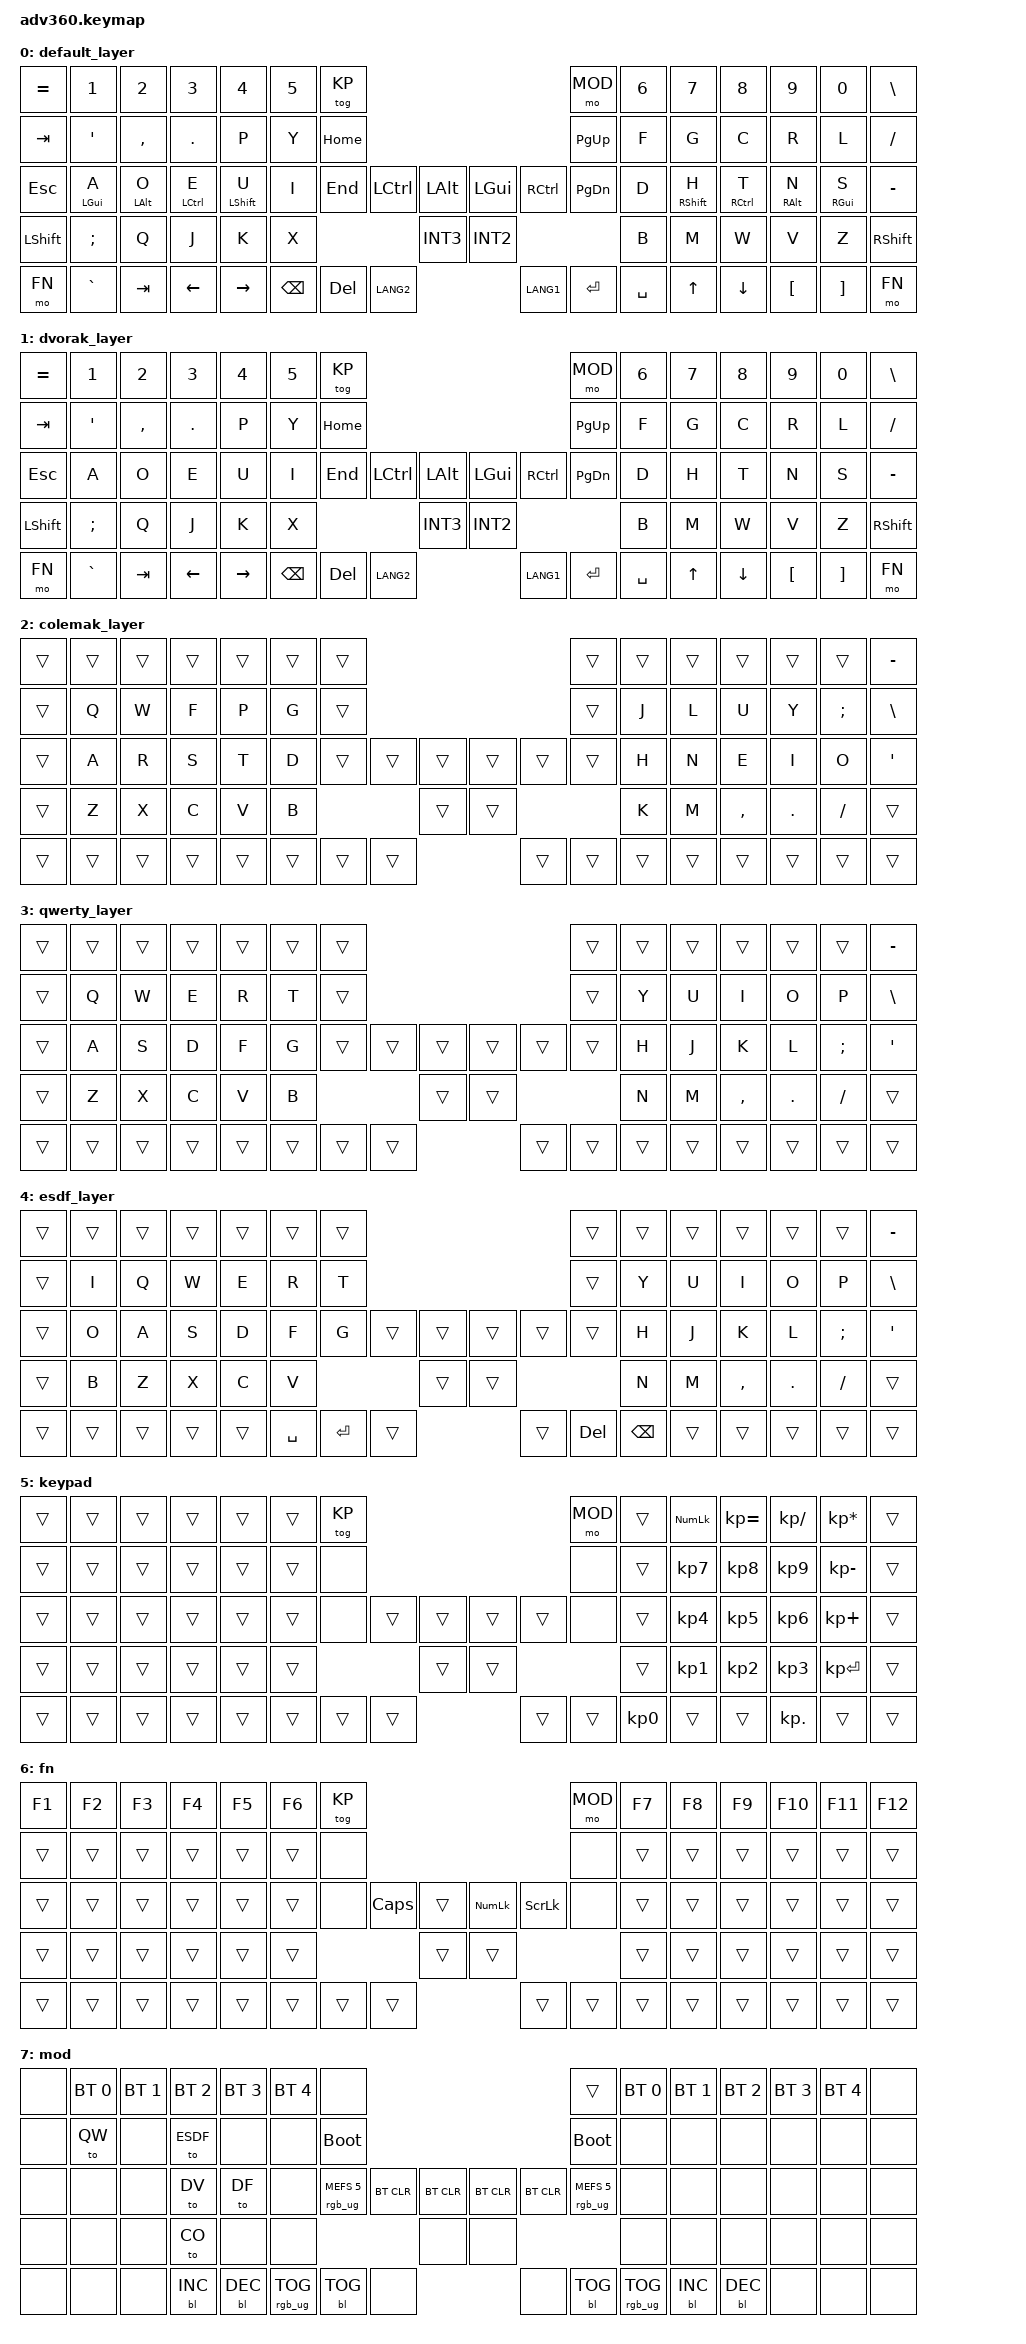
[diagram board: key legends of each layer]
#include <behaviors.dtsi>
#include <dt-bindings/zmk/keys.h>
#include <dt-bindings/zmk/bt.h>
#include <dt-bindings/zmk/rgb.h>
#include <dt-bindings/zmk/backlight.h>

#define DF 0
#define DV 1
#define CO 2
#define QW 3
#define ESDF 4
#define KP 5
#define FN 6
#define MOD 7

      //  ╭──────────────────────────────┬──────────────────────────────╮
      //  │  0  1  2  3  4  5  6         |          7  8  9 10 11 12 13 │
      //  │ 14 15 16 17 18 19 20 ╭───────┼───────╮ 21 22 23 24 25 26 27 │
      //  │ 28 29 30 31 32 33 34 │ 35 36 | 37 38 | 39 40 41 42 43 44 45 │
      //  │ 46 47 48 49 50 51 ╭──╯    52 | 53    ╰──╮ 54 55 56 57 58 59 │
      //  │ 60 61 62 63 64    | 65 66 67 | 68 69 70 |    71 72 73 74 75 │
      //  ╰───────────────────┴──────────┴──────────┴───────────────────╯
#define KEYS_LEFT 0 1 2 3 4 5 6 14 15 16 17 18 19 20 28 29 30 31 32 33 34 46 47 48 49 50 51 60 61 62 63 64

#define KEYS_RIGHT 7 8 9 10 11 12 13 21 22 23 24 25 26 27 39 40 41 42 43 44 45 54 55 56 57 58 59 71 72 73 74 75

#define THUMBS_LEFT 35 36 52 65 66 67

#define THUMBS_RIGHT  37 38 53 68 69 70

#define THUMBS THUMBS_LEFT THUMBS_RIGHT

/ {
    behaviors {
      #include "macros.dtsi"
      #include "version.dtsi"
      #ifndef VERSION_MACRO
      macro_ver: macro_ver {
        compatible = "zmk,behavior-macro";
        label = "macro_version";
        #binding-cells = <0>;
        bindings = <&kp RET>;
      };
      #endif

      hm: homerow_mods {
          compatible = "zmk,behavior-hold-tap";
          label = "HOMEROW_MODS";
          #binding-cells = <2>;
          tapping-term-ms = <500>;
          quick_tap_ms = <175>;
          flavor = "balanced";
          bindings = <&kp>, <&kp>;
      };

       hm_l: homerow_mods_left {
        compatible = "zmk,behavior-hold-tap";
        label = "HOMEROW_MODS_LEFT";
        #binding-cells = <2>;
        tapping-term-ms = <5000>;
        require-prior-idle-ms = <200>;
        hold-trigger-on-release;
        retro-tap;
        flavor = "balanced";
        bindings = <&kp>, <&kp>;
        hold-trigger-key-positions = <KEYS_RIGHT THUMBS>;
      };
      
    hm_r: homerow_mods_right {
        compatible = "zmk,behavior-hold-tap";
        label = "HOMEROW_MODS_RIGHT";
        #binding-cells = <2>;
        tapping-term-ms = <5000>;
        require-prior-idle-ms = <200>;
        hold-trigger-on-release;
        retro-tap;
        flavor = "balanced";
        bindings = <&kp>, <&kp>;
        hold-trigger-key-positions = <KEYS_LEFT THUMBS>;
      };

      bspdl: bspc_del {
        compatible = "zmk,behavior-mod-morph";
        label = "BSPC_DEL";
        #binding-cells = <0>;
        bindings = <&kp BACKSPACE>, <&kp DELETE>;
        mods = <(MOD_LSFT|MOD_RSFT)>;
      };
      sptab: space_tab {
        compatible = "zmk,behavior-mod-morph";
        label = "SPACE_TAB";
        #binding-cells = <0>;
        bindings = <&kp SPACE>, <&kp TAB>;
        mods = <(MOD_LSFT|MOD_RSFT)>;
      };
    };

    // Home-row mods
    #define U_SFT &hm_l LSHIFT U
    #define H_SFT &hm_r RSHIFT H
    #define E_CTL &hm_l LCTRL E
    #define T_CTL &hm_r RCTRL T
    #define O_ALT &hm_l LALT O
    #define N_ALT &hm_r RALT N
    #define A_GUI &hm_l LGUI A
    #define S_GUI &hm_r RGUI S

    // Keypad
    #define KP_DIV KP_DIVIDE
    #define KP_EQ KP_EQUAL
    #define KP_MUL KP_MULTIPLY
    #define KP_ENT KP_ENTER
    #define KP_MIN KP_MINUS

    // Bluetooth select
    #define BTS &bt BT_SEL
    //#define BT_SEL_0 &bt BT_SEL 0    
    //#define BT_SEL_1 &bt BT_SEL 1    
    //#define BT_SEL_2 &bt BT_SEL 2    
    //#define BT_SEL_3 &bt BT_SEL 3    
    //#define BT_SEL_4 &bt BT_SEL 4

    // Other
    #define BOOT &bootloader
    #define RGBC &rgb_ug RGB_MEFS_CMD
    #define RGBT &rgb_ug RGB_TOG
    //#define RGB_5 &rgb_ug RGB_MEFS_CMD 5
    //#define RGB_TGL &rgb_ug RGB_TOG



      // not my dvorak layout, just a placeholder
      //   ,--------------------------------------------------.                                           ,---------------------------------------------------.                      
      //   |    =   |   1  |   2  |   3  |  4   |   5  |tog KP |                                          | Mod   |   6  |   7  |   8  |   9  |   0  |   \|   |
      //   |--------+------+------+------+------+------+------|                                           |-------+------+------+------+------+------+--------|
      //   |   Tab  |   "  |   ,  |   .  |   P  |   Y  | Home |                                           | Pg Up |   F  |   G  |   C  |   R  |   L  |    /   |
      //   |--------+------+------+------+------+------+------|       ,-----+-----.  ,-----+-----.        |-------+------+------+------+------+------+--------|
      //   |   Esc  |   A  |   O  |   E  |   U  |   I  | End  |       |L Ctl|L Alt|  |L Gui|R ctl|        | Pg Dn |   D  |   H  |   T  |   N  |   S  |   -    |
      //   |--------+------+------+------+------+------+------' .-----+-----+-----|  |-----+-----+-----.  '-------+------+------+------+------+------+--------|
      //   | L Shift|   ;  |   Q  |   J  |   K  |   X  |        |Back |     | Int3|  | Int2|     |     |          |   B  |   M  |   W  |   V  |   Z  | R Shift|
      //   |--------+------+------+------+------+------'        |Space| Esc |-----|  |-----|Enter|Space|          '------+------+------+------+------+--------|
      //   |  Mod 4 |   `  | CAPS | Left | Right|               | /Del|     |Lang2|  |Lang1|     |     |                 |  Up  | Down |   [  |  ]   |        |
      //   `--------+------+------+------+------'               `-----+-----+-----'  `-----+-----+-----'                 '------+------+------+------+--------'
      //  ╭─────────────────────────────┬─────────────────────────────╮
      //  │  0  1  2  3  4  5  6        |         7  8  9 10 11 12 13 │
      //  │ 14 15 16 17 18 19 20 ╭──────┴──────╮ 21 22 23 24 25 26 27 │
      //  │ 28 29 30 31 32 33 34 │ 35 36 37 38 | 39 40 41 42 43 44 45 │
      //  │ 46 47 48 49 50 51 ╭──╯    52 53    ╰──╮ 54 55 56 57 58 59 │
      //  │ 60 61 62 63 64 ╭──╯ 65 66 67 68 69 70 ╰──╮ 71 72 73 74 75 │
      //  ╰────────────────┴─────────────────────────┴────────────────╯

  keymap {
    compatible = "zmk,keymap";

    default_layer {
      bindings = <
      //▄           ▄           ▄           ▄           ▄           ▄           ▄           ▄           ▄           ▄           ▄           ▄           ▄           ▄           ▄           ▄           ▄           ▄
        &kp EQUAL   &kp N1      &kp N2      &kp N3      &kp N4      &kp N5      &tog KP                                                     &mo MOD     &kp N6      &kp N7      &kp N8      &kp N9      &kp N0      &kp BSLH
        &kp TAB     &kp SQT     &kp COMMA   &kp DOT     &kp P       &kp Y       &kp HOME                                                    &kp PG_UP   &kp F       &kp G       &kp C       &kp R       &kp L       &kp FSLH
        &kp ESC     A_GUI       O_ALT       E_CTL       U_SFT       &kp I       &kp END     &kp LCTRL   &kp LALT    &kp LGUI   &kp RCTRL    &kp PG_DN   &kp D       H_SFT       T_CTL       N_ALT       S_GUI       &kp MINUS
        &kp LSHFT   &kp SEMI    &kp Q       &kp J       &kp K       &kp X                               &kp INT3    &kp INT2                            &kp B       &kp M       &kp W       &kp V       &kp Z       &kp RSHFT
        &mo FN      &kp GRAVE   &kp TAB     &kp LEFT    &kp RIGHT               &kp BSPC    &kp DELETE  &kp LANG2   &kp LANG1   &kp ENTER   &kp SPACE               &kp UP      &kp DOWN    &kp LBKT    &kp RBKT    &mo FN
      //▀           ▀           ▀           ▀           ▀           ▀           ▀           ▀           ▀           ▀           ▀           ▀           ▀           ▀           ▀           ▀           ▀           ▀ 
      >;
    };
    dvorak_layer {
      bindings = <
      //▄           ▄           ▄           ▄           ▄           ▄           ▄           ▄           ▄           ▄           ▄           ▄           ▄           ▄           ▄           ▄           ▄           ▄
        &kp EQUAL   &kp N1      &kp N2      &kp N3      &kp N4      &kp N5      &tog KP                                                     &mo MOD     &kp N6      &kp N7      &kp N8      &kp N9      &kp N0      &kp BSLH
        &kp TAB     &kp SQT     &kp COMMA   &kp DOT     &kp P       &kp Y       &kp HOME                                                    &kp PG_UP   &kp F       &kp G       &kp C       &kp R       &kp L       &kp FSLH
        &kp ESC     &kp A       &kp O       &kp E       &kp U       &kp I       &kp END     &kp LCTRL   &kp LALT    &kp LGUI    &kp RCTRL   &kp PG_DN   &kp D       &kp H       &kp T       &kp N       &kp S       &kp MINUS
        &kp LSHFT   &kp SEMI    &kp Q       &kp J       &kp K       &kp X                               &kp INT3    &kp INT2                            &kp B       &kp M       &kp W       &kp V       &kp Z       &kp RSHFT
        &mo FN      &kp GRAVE   &kp TAB     &kp LEFT    &kp RIGHT               &kp BSPC    &kp DELETE  &kp LANG2   &kp LANG1   &kp ENTER   &kp SPACE               &kp UP      &kp DOWN    &kp LBKT    &kp RBKT    &mo FN
      //▀           ▀           ▀           ▀           ▀           ▀           ▀           ▀           ▀           ▀           ▀           ▀           ▀           ▀           ▀           ▀           ▀           ▀ 
      >;
    };
    colemak_layer {
      bindings = <
      //▄           ▄           ▄           ▄           ▄           ▄           ▄           ▄           ▄           ▄           ▄           ▄           ▄           ▄           ▄           ▄           ▄           ▄
        &trans      &trans      &trans      &trans      &trans      &trans      &trans                                                      &trans      &trans      &trans      &trans      &trans      &trans      &kp MINUS 
        &trans      &kp Q       &kp W       &kp F       &kp P       &kp G       &trans                                                      &trans      &kp J       &kp L       &kp U       &kp Y       &kp SEMI    &kp BSLH
        &trans      &kp A       &kp R       &kp S       &kp T       &kp D       &trans      &trans      &trans      &trans      &trans      &trans      &kp H       &kp N       &kp E       &kp I       &kp O       &kp SQT
        &trans      &kp Z       &kp X       &kp C       &kp V       &kp B                               &trans      &trans                              &kp K       &kp M       &kp COMMA   &kp PERIOD  &kp SLASH   &trans
        &trans      &trans      &trans      &trans      &trans                  &trans      &trans      &trans      &trans      &trans      &trans                  &trans      &trans      &trans      &trans      &trans
      //▀           ▀           ▀           ▀           ▀           ▀           ▀           ▀           ▀           ▀           ▀           ▀           ▀           ▀           ▀           ▀           ▀           ▀ 
            >;
    };
    qwerty_layer {
      bindings = <
      //▄           ▄           ▄           ▄           ▄           ▄           ▄           ▄           ▄           ▄           ▄           ▄           ▄           ▄           ▄           ▄           ▄           ▄
        &trans      &trans      &trans      &trans      &trans      &trans      &trans                                                      &trans      &trans      &trans      &trans      &trans      &trans      &kp MINUS
        &trans      &kp Q       &kp W       &kp E       &kp R       &kp T       &trans                                                      &trans      &kp Y       &kp U       &kp I       &kp O       &kp P       &kp BSLH
        &trans      &kp A       &kp S       &kp D       &kp F       &kp G       &trans      &trans      &trans      &trans      &trans      &trans      &kp H       &kp J       &kp K       &kp L       &kp SEMI    &kp SQT
        &trans      &kp Z       &kp X       &kp C       &kp V       &kp B                               &trans      &trans                              &kp N       &kp M       &kp COMMA   &kp DOT     &kp FSLH    &trans
        &trans      &trans      &trans      &trans      &trans                  &trans      &trans      &trans      &trans      &trans      &trans                  &trans      &trans      &trans      &trans      &trans
      //▀           ▀           ▀           ▀           ▀           ▀           ▀           ▀           ▀           ▀           ▀           ▀           ▀           ▀           ▀           ▀           ▀           ▀ 
      >;
    };
    esdf_layer {
      bindings = <
      //▄           ▄           ▄           ▄           ▄           ▄           ▄           ▄           ▄           ▄           ▄           ▄           ▄           ▄           ▄           ▄           ▄           ▄
        &trans      &trans      &trans      &trans      &trans      &trans      &trans                                                      &trans      &trans      &trans      &trans      &trans      &trans      &kp MINUS
        &trans      &kp I       &kp Q       &kp W       &kp E       &kp R       &kp T                                                       &trans      &kp Y       &kp U       &kp I       &kp O       &kp P       &kp BSLH
        &trans      &kp O       &kp A       &kp S       &kp D       &kp F       &kp G       &trans      &trans      &trans      &trans      &trans      &kp H       &kp J       &kp K       &kp L       &kp SEMI    &kp SQT
        &trans      &kp B       &kp Z       &kp X       &kp C       &kp V                               &trans      &trans                              &kp N       &kp M       &kp COMMA   &kp DOT     &kp FSLH    &trans
        &trans      &trans      &trans      &trans      &trans                  &kp SPACE   &kp ENTER   &trans      &trans      &kp DELETE  &kp BSPC                &trans      &trans      &trans      &trans      &trans
      //▀           ▀           ▀           ▀           ▀           ▀           ▀           ▀           ▀           ▀           ▀           ▀           ▀           ▀           ▀           ▀           ▀           ▀ 
      >;
    };
    keypad {
      bindings = <
      //▄           ▄           ▄           ▄           ▄           ▄           ▄           ▄           ▄           ▄           ▄           ▄           ▄           ▄           ▄           ▄           ▄           ▄
        &trans      &trans      &trans      &trans      &trans      &trans      &tog KP                                                     &mo MOD     &trans      &kp KP_NUM  &kp KP_EQ   &kp KP_DIV  &kp KP_MUL &trans
        &trans      &trans      &trans      &trans      &trans      &trans      &none                                                       &none       &trans      &kp KP_N7   &kp KP_N8   &kp KP_N9   &kp KP_MIN  &trans
        &trans      &trans      &trans      &trans      &trans      &trans      &none       &trans      &trans      &trans      &trans      &none       &trans      &kp KP_N4   &kp KP_N5   &kp KP_N6   &kp KP_PLUS &trans
        &trans      &trans      &trans      &trans      &trans      &trans                              &trans      &trans                              &trans      &kp KP_N1   &kp KP_N2   &kp KP_N3   &kp KP_ENT  &trans
        &trans      &trans      &trans      &trans      &trans                  &trans      &trans      &trans      &trans      &trans      &kp KP_N0               &trans      &trans      &kp KP_DOT  &trans      &trans 
      //▀           ▀           ▀           ▀           ▀           ▀           ▀           ▀           ▀           ▀           ▀           ▀           ▀           ▀           ▀           ▀           ▀           ▀ 
      >;
    };
    fn {
      bindings = <
      //▄           ▄           ▄           ▄           ▄           ▄           ▄           ▄           ▄           ▄           ▄           ▄           ▄           ▄           ▄           ▄           ▄           ▄
        &kp F1      &kp F2      &kp F3      &kp F4      &kp F5      &kp F6      &tog KP                                                     &mo MOD     &kp F7      &kp F8      &kp F9      &kp F10     &kp F11     &kp F12
        &trans      &trans      &trans      &trans      &trans      &trans      &none                                                       &none       &trans      &trans      &trans      &trans      &trans      &trans
        &trans      &trans      &trans      &trans      &trans      &trans      &none       &kp CAPS    &trans      &kp KP_NUM  &kp SLCK    &none       &trans      &trans      &trans      &trans      &trans      &trans
        &trans      &trans      &trans      &trans      &trans      &trans                              &trans      &trans                              &trans      &trans      &trans      &trans      &trans      &trans
        &trans      &trans      &trans      &trans      &trans                  &trans      &trans      &trans      &trans      &trans      &trans                  &trans      &trans      &trans      &trans      &trans
      //▀           ▀           ▀           ▀           ▀           ▀           ▀           ▀           ▀           ▀           ▀           ▀           ▀           ▀           ▀           ▀           ▀           ▀ 
      >;
    };
    mod {
      bindings = <
      //▄           ▄           ▄           ▄           ▄           ▄           ▄           ▄           ▄           ▄           ▄           ▄           ▄           ▄           ▄           ▄           ▄           ▄
        &none       BTS 0       BTS 1       BTS 2       BTS 3       BTS 4       &none                                                       &trans      BTS 0       BTS 1       BTS 2       BTS 3       BTS 4       &none
        &none       &to QW      &none       &to ESDF    &none       &none       BOOT                                                        BOOT        &none       &none       &none       &none       &none       &none
        &none       &none       &none       &to DV      &to DF      &none       RGBC 5      &bt BT_CLR  &bt BT_CLR  &bt BT_CLR  &bt BT_CLR  RGBC 5      &none       &none       &none       &none       &none       &none
        &none       &none       &none       &to CO      &none       &none                               &none       &none                               &none       &none       &none       &none       &none       &none
        &none       &none       &none       &bl BL_INC  &bl BL_DEC              RGBT        &bl BL_TOG  &none       &none       &bl BL_TOG  RGBT                    &bl BL_INC  &bl BL_DEC  &none       &none       &none
      //▀           ▀           ▀           ▀           ▀           ▀           ▀           ▀           ▀           ▀           ▀           ▀           ▀           ▀           ▀           ▀           ▀           ▀ 
      >;
    };
  };
};
